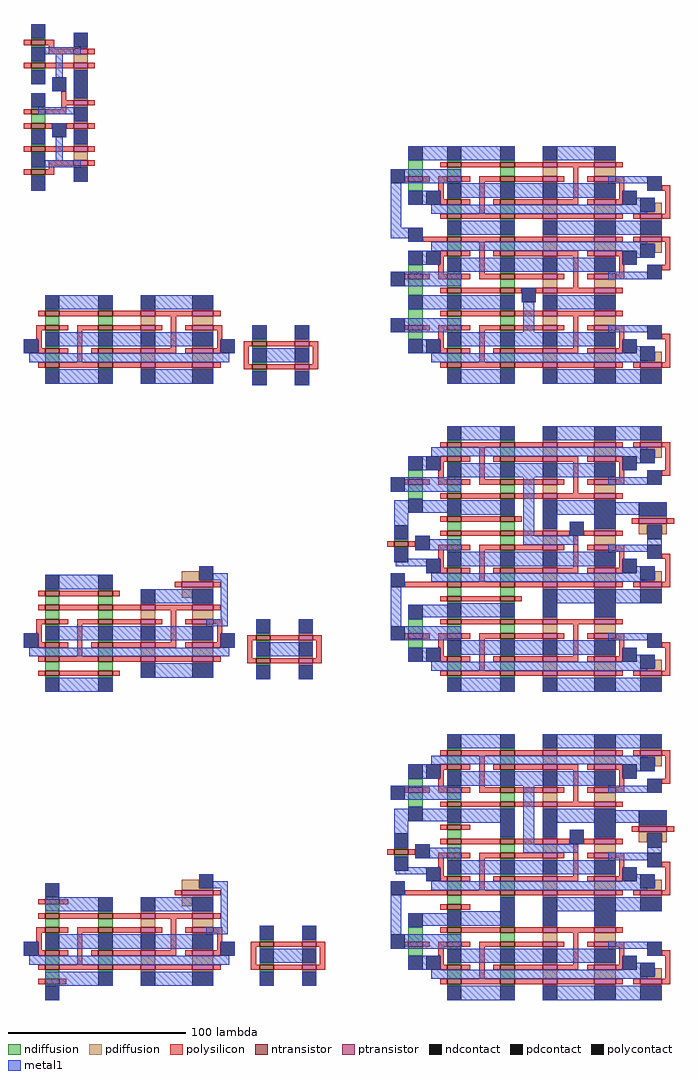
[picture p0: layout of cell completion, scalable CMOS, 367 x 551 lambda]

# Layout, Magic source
magic
tech scmos
use s_or4 s_or4_0
transform 1 0 152 0 1 169
box -62 -18 -20 76
use m_c2inv m_c2inv_0
transform 1 0 153 0 1 50
box -63 -10 105 43
use m_c4 m_c4_0
transform 1 0 316 0 1 -20
box -19 61 141 197
use m_c2inv_rlo m_c2inv_rlo_0
transform 1 0 153 0 1 -92
box -63 -41 107 32
use m_c4_rhi m_c4_rhi_0
transform 1 0 315 0 1 -141
box -20 8 144 160
use m_c2inv_plo m_c2inv_plo_0
transform 1 0 49 0 1 -273
box 41 -34 213 40
use m_c4_phi m_c4_phi_0
transform 1 0 325 0 1 -309
box -30 2 134 154
<< end >>

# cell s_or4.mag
magic
tech scmos
<< ndiffusion >>
rect -57 67 -49 68
rect -57 63 -49 64
rect -57 54 -49 55
rect -57 50 -49 51
rect -57 28 -49 29
rect -57 20 -49 25
rect -57 16 -49 17
rect -57 7 -49 8
rect -57 3 -49 4
rect -57 -6 -49 -5
rect -57 -10 -49 -9
<< pdiffusion >>
rect -33 62 -25 63
rect -33 54 -25 59
rect -33 50 -25 51
rect -33 33 -25 34
rect -33 29 -25 30
rect -33 20 -25 21
rect -33 16 -25 17
rect -33 7 -25 8
rect -33 -1 -25 4
rect -33 -5 -25 -4
<< ntransistor >>
rect -57 64 -49 67
rect -57 51 -49 54
rect -57 25 -49 28
rect -57 17 -49 20
rect -57 4 -49 7
rect -57 -9 -49 -6
<< ptransistor >>
rect -33 59 -25 62
rect -33 51 -25 54
rect -33 30 -25 33
rect -33 17 -25 20
rect -33 4 -25 7
rect -33 -4 -25 -1
<< polysilicon >>
rect -61 64 -57 67
rect -49 64 -44 67
rect -47 62 -44 64
rect -47 59 -33 62
rect -25 59 -21 62
rect -61 51 -57 54
rect -49 51 -33 54
rect -25 51 -21 54
rect -40 33 -37 38
rect -40 30 -33 33
rect -25 30 -21 33
rect -40 28 -37 30
rect -61 25 -57 28
rect -49 25 -37 28
rect -61 17 -57 20
rect -49 17 -45 20
rect -37 17 -33 20
rect -25 17 -21 20
rect -61 4 -57 7
rect -49 4 -33 7
rect -25 4 -21 7
rect -47 -4 -33 -1
rect -25 -4 -21 -1
rect -47 -6 -44 -4
rect -61 -9 -57 -6
rect -49 -9 -44 -6
<< ndcontact >>
rect -57 68 -49 76
rect -57 55 -49 63
rect -57 42 -49 50
rect -57 29 -49 37
rect -57 8 -49 16
rect -57 -5 -49 3
rect -57 -18 -49 -10
<< pdcontact >>
rect -33 63 -25 71
rect -33 34 -25 50
rect -33 21 -25 29
rect -33 8 -25 16
rect -33 -13 -25 -5
<< polycontact >>
rect -45 38 -37 46
rect -45 12 -37 20
<< metal1 >>
rect -57 68 -49 76
rect -33 63 -25 71
rect -57 59 -29 63
rect -57 55 -49 59
rect -57 42 -49 50
rect -43 46 -39 59
rect -45 38 -37 46
rect -57 29 -49 37
rect -33 34 -25 50
rect -53 25 -25 29
rect -33 21 -25 25
rect -57 8 -49 16
rect -45 12 -37 20
rect -57 -1 -49 3
rect -43 -1 -39 12
rect -33 8 -25 16
rect -57 -5 -29 -1
rect -57 -18 -49 -10
rect -33 -13 -25 -5
<< labels >>
rlabel metal1 -53 46 -53 46 1 GND!
rlabel metal1 -53 72 -53 72 5 GND!
rlabel polysilicon -58 52 -58 52 3 a2
rlabel polysilicon -24 52 -24 52 7 a2
rlabel polysilicon -24 60 -24 60 7 a3
rlabel polysilicon -58 65 -58 65 3 a3
rlabel metal1 -53 59 -53 59 1 _a_23
rlabel metal1 -53 33 -53 33 1 av
rlabel metal1 -29 25 -29 25 1 av
rlabel metal1 -53 -1 -53 -1 1 _a_01
rlabel polysilicon -24 -3 -24 -3 7 a0
rlabel polysilicon -24 5 -24 5 7 a1
rlabel polysilicon -58 5 -58 5 3 a1
rlabel polysilicon -58 -8 -58 -8 3 a0
rlabel metal1 -29 12 -29 12 5 Vdd!
rlabel metal1 -53 -14 -53 -14 1 GND!
rlabel metal1 -53 12 -53 12 5 GND!
rlabel metal1 -29 42 -29 42 1 Vdd!
rlabel space -62 -18 -57 11 7 ^n01
rlabel space -25 -13 -20 9 3 ^p01
rlabel space -62 15 -57 30 7 ^n03
rlabel space -25 15 -20 35 3 ^p03
rlabel space -25 49 -20 64 3 ^p23
rlabel space -62 42 -57 76 7 ^n23
<< end >>

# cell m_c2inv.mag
magic
tech scmos
<< ndiffusion >>
rect -50 33 -42 34
rect -20 33 -12 34
rect -50 25 -42 30
rect -20 25 -12 30
rect -50 21 -42 22
rect -50 12 -42 13
rect -50 4 -42 9
rect -20 21 -12 22
rect -20 12 -12 13
rect 67 16 75 17
rect -20 4 -12 9
rect 67 12 75 13
rect 67 3 75 4
rect -50 0 -42 1
rect -20 0 -12 1
rect 67 -1 75 0
<< pdiffusion >>
rect 4 33 12 34
rect 33 33 45 34
rect 4 25 12 30
rect 4 21 12 22
rect 4 12 12 13
rect 33 25 45 30
rect 33 21 45 22
rect 33 12 45 13
rect 91 16 99 17
rect 4 4 12 9
rect 33 4 45 9
rect 91 12 99 13
rect 91 3 99 4
rect 4 0 12 1
rect 33 0 45 1
rect 91 -1 99 0
<< ntransistor >>
rect -50 30 -42 33
rect -20 30 -12 33
rect -50 22 -42 25
rect -20 22 -12 25
rect -50 9 -42 12
rect -20 9 -12 12
rect 67 13 75 16
rect -50 1 -42 4
rect -20 1 -12 4
rect 67 0 75 3
<< ptransistor >>
rect 4 30 12 33
rect 33 30 45 33
rect 4 22 12 25
rect 33 22 45 25
rect 4 9 12 12
rect 33 9 45 12
rect 91 13 99 16
rect 4 1 12 4
rect 33 1 45 4
rect 91 0 99 3
<< polysilicon >>
rect -54 30 -50 33
rect -42 30 -20 33
rect -12 30 4 33
rect 12 30 33 33
rect 45 30 49 33
rect -55 22 -50 25
rect -42 22 -37 25
rect -32 22 -20 25
rect -12 22 4 25
rect 12 22 16 25
rect -55 17 -52 22
rect -54 12 -52 17
rect -54 9 -50 12
rect -42 9 -37 12
rect -32 4 -29 22
rect 21 12 24 30
rect 29 22 33 25
rect 45 22 50 25
rect 47 17 50 22
rect 47 12 49 17
rect -24 9 -20 12
rect -12 9 4 12
rect 12 9 24 12
rect 29 9 33 12
rect 45 9 49 12
rect 62 13 67 16
rect 75 13 91 16
rect 99 13 104 16
rect -54 1 -50 4
rect -42 1 -20 4
rect -12 1 4 4
rect 12 1 33 4
rect 45 1 49 4
rect 62 3 65 13
rect 101 3 104 13
rect 62 0 67 3
rect 75 0 91 3
rect 99 0 104 3
<< ndcontact >>
rect -50 34 -42 42
rect -20 34 -12 42
rect -50 13 -42 21
rect -20 13 -12 21
rect 67 17 75 25
rect 67 4 75 12
rect -50 -8 -42 0
rect -20 -8 -12 0
rect 67 -9 75 -1
<< pdcontact >>
rect 4 34 12 42
rect 33 34 45 42
rect 4 13 12 21
rect 33 13 45 21
rect 91 17 99 25
rect 91 4 99 12
rect 4 -8 12 0
rect 33 -8 45 0
rect 91 -9 99 -1
<< polycontact >>
rect -62 9 -54 17
rect 49 9 57 17
<< metal1 >>
rect -50 34 -12 42
rect 4 34 45 42
rect -62 9 -54 17
rect -50 13 45 21
rect 67 17 75 25
rect 91 17 99 25
rect 49 9 57 17
rect -59 4 54 9
rect 67 4 99 12
rect -50 -8 -12 0
rect 4 -8 45 0
rect 67 -9 75 -1
rect 91 -9 99 -1
<< labels >>
rlabel metal1 -16 38 -16 38 5 GND!
rlabel metal1 8 38 8 38 5 Vdd!
rlabel metal1 -16 -4 -16 -4 1 GND!
rlabel metal1 8 -4 8 -4 1 Vdd!
rlabel metal1 -46 38 -46 38 5 GND!
rlabel metal1 -46 -4 -46 -4 1 GND!
rlabel polysilicon -51 31 -51 31 3 b
rlabel polysilicon -51 2 -51 2 3 a
rlabel polysilicon 46 3 46 3 7 a
rlabel polysilicon 46 32 46 32 7 b
rlabel metal1 39 38 39 38 5 Vdd!
rlabel metal1 39 -4 39 -4 1 Vdd!
rlabel metal1 -46 17 -46 17 1 _x
rlabel metal1 -16 17 -16 17 1 _x
rlabel metal1 8 17 8 17 1 _x
rlabel metal1 39 17 39 17 1 _x
rlabel metal1 53 13 53 13 1 x
rlabel metal1 -58 13 -58 13 1 x
rlabel ndcontact 71 8 71 8 1 x
rlabel pdcontact 95 8 95 8 1 x
rlabel ndcontact 71 -5 71 -5 1 GND!
rlabel pdcontact 95 -5 95 -5 1 Vdd!
rlabel pdcontact 95 21 95 21 5 Vdd!
rlabel ndcontact 71 21 71 21 5 GND!
rlabel polysilicon 66 14 66 14 1 _x
rlabel polysilicon 66 1 66 1 1 _x
rlabel polysilicon 100 14 100 14 1 _x
rlabel polysilicon 100 1 100 1 1 _x
rlabel space -63 -9 -19 43 7 ^n1
rlabel space 10 -9 58 43 3 ^p1
rlabel space 61 -10 68 26 7 ^n2
rlabel space 98 -10 105 26 3 ^p2
<< end >>

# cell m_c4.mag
magic
tech scmos
<< ndiffusion >>
rect -8 179 0 188
rect 14 187 22 188
rect 44 187 52 188
rect 14 179 22 184
rect 44 179 52 184
rect -8 171 0 176
rect 14 175 22 176
rect 14 166 22 167
rect 14 158 22 163
rect 44 175 52 176
rect 44 166 52 167
rect 44 158 52 163
rect 14 154 22 155
rect 14 145 22 146
rect 44 154 52 155
rect 44 145 52 146
rect 14 137 22 142
rect -8 124 0 129
rect 14 133 22 134
rect 14 124 22 125
rect 44 137 52 142
rect 44 133 52 134
rect 44 124 52 125
rect -8 112 0 121
rect 14 116 22 121
rect 44 116 52 121
rect -8 95 0 104
rect 14 112 22 113
rect 14 103 22 104
rect 44 112 52 113
rect 44 103 52 104
rect 14 95 22 100
rect 44 95 52 100
rect -8 87 0 92
rect 14 91 22 92
rect 14 82 22 83
rect 14 74 22 79
rect 44 91 52 92
rect 44 82 52 83
rect 44 74 52 79
rect 14 70 22 71
rect 44 70 52 71
<< pdiffusion >>
rect 68 187 76 188
rect 97 187 109 188
rect 68 179 76 184
rect 68 175 76 176
rect 68 166 76 167
rect 97 179 109 184
rect 97 175 109 176
rect 97 166 109 167
rect 68 158 76 163
rect 97 158 109 163
rect 131 159 135 164
rect 123 158 135 159
rect 68 154 76 155
rect 68 145 76 146
rect 97 154 109 155
rect 97 145 109 146
rect 123 154 135 155
rect 123 145 135 146
rect 68 137 76 142
rect 97 137 109 142
rect 123 141 135 142
rect 68 133 76 134
rect 68 124 76 125
rect 68 116 76 121
rect 97 133 109 134
rect 97 124 109 125
rect 131 136 135 141
rect 97 116 109 121
rect 68 112 76 113
rect 68 103 76 104
rect 97 112 109 113
rect 97 103 109 104
rect 68 95 76 100
rect 68 91 76 92
rect 68 82 76 83
rect 97 95 109 100
rect 97 91 109 92
rect 97 82 109 83
rect 68 74 76 79
rect 97 74 109 79
rect 131 75 135 80
rect 123 74 135 75
rect 68 70 76 71
rect 97 70 109 71
rect 123 70 135 71
<< ntransistor >>
rect 14 184 22 187
rect 44 184 52 187
rect -8 176 0 179
rect 14 176 22 179
rect 44 176 52 179
rect 14 163 22 166
rect 44 163 52 166
rect 14 155 22 158
rect 44 155 52 158
rect 14 142 22 145
rect 44 142 52 145
rect 14 134 22 137
rect 44 134 52 137
rect -8 121 0 124
rect 14 121 22 124
rect 44 121 52 124
rect 14 113 22 116
rect 44 113 52 116
rect 14 100 22 103
rect 44 100 52 103
rect -8 92 0 95
rect 14 92 22 95
rect 44 92 52 95
rect 14 79 22 82
rect 44 79 52 82
rect 14 71 22 74
rect 44 71 52 74
<< ptransistor >>
rect 68 184 76 187
rect 97 184 109 187
rect 68 176 76 179
rect 97 176 109 179
rect 68 163 76 166
rect 97 163 109 166
rect 68 155 76 158
rect 97 155 109 158
rect 123 155 135 158
rect 68 142 76 145
rect 97 142 109 145
rect 123 142 135 145
rect 68 134 76 137
rect 97 134 109 137
rect 68 121 76 124
rect 97 121 109 124
rect 68 113 76 116
rect 97 113 109 116
rect 68 100 76 103
rect 97 100 109 103
rect 68 92 76 95
rect 97 92 109 95
rect 68 79 76 82
rect 97 79 109 82
rect 68 71 76 74
rect 97 71 109 74
rect 123 71 135 74
<< polysilicon >>
rect 10 184 14 187
rect 22 184 44 187
rect 52 184 68 187
rect 76 184 97 187
rect 109 184 113 187
rect -10 176 -8 179
rect 0 176 4 179
rect 9 176 14 179
rect 22 176 27 179
rect 32 176 44 179
rect 52 176 68 179
rect 76 176 80 179
rect 9 171 12 176
rect 10 166 12 171
rect 10 163 14 166
rect 22 163 27 166
rect 32 158 35 176
rect 85 166 88 184
rect 93 176 97 179
rect 109 176 114 179
rect 111 171 114 176
rect 135 171 140 174
rect 111 166 113 171
rect 40 163 44 166
rect 52 163 68 166
rect 76 163 88 166
rect 93 163 97 166
rect 109 163 113 166
rect 137 158 140 171
rect 10 155 14 158
rect 22 155 44 158
rect 52 155 68 158
rect 76 155 97 158
rect 109 155 113 158
rect 119 155 123 158
rect 135 155 140 158
rect 0 142 14 145
rect 22 142 44 145
rect 52 142 68 145
rect 76 142 97 145
rect 109 142 113 145
rect 119 142 123 145
rect 135 142 140 145
rect 10 134 14 137
rect 22 134 27 137
rect 10 129 12 134
rect 9 124 12 129
rect 32 124 35 142
rect 40 134 44 137
rect 52 134 68 137
rect 76 134 88 137
rect 93 134 97 137
rect 109 134 113 137
rect -10 121 -8 124
rect 0 121 4 124
rect 9 121 14 124
rect 22 121 27 124
rect 32 121 44 124
rect 52 121 68 124
rect 76 121 80 124
rect 85 116 88 134
rect 111 129 113 134
rect 137 129 140 142
rect 111 124 114 129
rect 93 121 97 124
rect 109 121 114 124
rect 135 126 140 129
rect 10 113 14 116
rect 22 113 44 116
rect 52 113 56 116
rect 64 113 68 116
rect 76 113 97 116
rect 109 113 113 116
rect 10 100 14 103
rect 22 100 44 103
rect 52 100 68 103
rect 76 100 97 103
rect 109 100 113 103
rect -10 92 -8 95
rect 0 92 4 95
rect 9 92 14 95
rect 22 92 27 95
rect 32 92 44 95
rect 52 92 68 95
rect 76 92 80 95
rect 9 87 12 92
rect 10 82 12 87
rect 10 79 14 82
rect 22 79 27 82
rect 32 74 35 92
rect 85 82 88 100
rect 93 92 97 95
rect 109 92 114 95
rect 111 87 114 92
rect 135 87 140 90
rect 111 82 113 87
rect 40 79 44 82
rect 52 79 68 82
rect 76 79 88 82
rect 93 79 97 82
rect 109 79 113 82
rect 137 74 140 87
rect 10 71 14 74
rect 22 71 44 74
rect 52 71 68 74
rect 76 71 97 74
rect 109 71 113 74
rect 119 71 123 74
rect 135 71 140 74
<< ndcontact >>
rect -8 188 0 196
rect 14 188 22 196
rect 44 188 52 196
rect -8 163 0 171
rect 14 167 22 175
rect 44 167 52 175
rect 14 146 22 154
rect 44 146 52 154
rect -8 129 0 137
rect 14 125 22 133
rect 44 125 52 133
rect -8 104 0 112
rect 14 104 22 112
rect 44 104 52 112
rect -8 79 0 87
rect 14 83 22 91
rect 44 83 52 91
rect 14 62 22 70
rect 44 62 52 70
<< pdcontact >>
rect 68 188 76 196
rect 97 188 109 196
rect 68 167 76 175
rect 97 167 109 175
rect 123 159 131 167
rect 68 146 76 154
rect 97 146 109 154
rect 123 146 135 154
rect 68 125 76 133
rect 97 125 109 133
rect 123 133 131 141
rect 68 104 76 112
rect 97 104 109 112
rect 68 83 76 91
rect 97 83 109 91
rect 123 75 131 83
rect 68 62 76 70
rect 97 62 109 70
rect 123 62 135 70
<< polycontact >>
rect -18 175 -10 183
rect 2 163 10 171
rect 127 171 135 179
rect 113 163 121 171
rect -8 142 0 150
rect 2 129 10 137
rect -18 117 -10 125
rect 113 129 121 137
rect 127 121 135 129
rect -18 91 -10 99
rect 56 108 64 116
rect 2 79 10 87
rect 127 87 135 95
rect 113 79 121 87
<< metal1 >>
rect -8 188 52 196
rect 68 188 109 196
rect -18 175 22 183
rect 105 175 135 179
rect -18 150 -12 175
rect -8 163 10 171
rect 14 167 109 175
rect 127 171 135 175
rect 113 167 121 171
rect 113 163 131 167
rect 5 159 131 163
rect 5 158 127 159
rect -18 144 0 150
rect 14 146 52 154
rect 68 146 135 154
rect -8 142 0 144
rect 5 141 127 142
rect 5 137 131 141
rect -8 129 10 137
rect 113 133 131 137
rect 14 125 109 133
rect 113 129 121 133
rect 127 125 135 129
rect -18 117 22 125
rect 105 121 135 125
rect -8 104 52 112
rect 56 108 64 116
rect -18 91 22 99
rect 57 91 63 108
rect 68 104 109 112
rect 105 91 135 95
rect -8 79 10 87
rect 14 83 109 91
rect 127 87 135 91
rect 113 83 121 87
rect 113 79 131 83
rect 5 75 131 79
rect 5 74 127 75
rect 14 62 52 70
rect 68 62 135 70
<< labels >>
rlabel metal1 48 192 48 192 5 GND!
rlabel metal1 72 192 72 192 5 Vdd!
rlabel metal1 48 150 48 150 1 GND!
rlabel metal1 72 150 72 150 1 Vdd!
rlabel metal1 18 192 18 192 5 GND!
rlabel metal1 18 150 18 150 1 GND!
rlabel metal1 -4 192 -4 192 5 GND!
rlabel metal1 103 192 103 192 5 Vdd!
rlabel metal1 103 150 103 150 1 Vdd!
rlabel metal1 129 150 129 150 1 Vdd!
rlabel metal1 48 108 48 108 1 GND!
rlabel metal1 72 108 72 108 1 Vdd!
rlabel metal1 18 108 18 108 1 GND!
rlabel metal1 103 108 103 108 1 Vdd!
rlabel metal1 48 66 48 66 1 GND!
rlabel metal1 72 66 72 66 1 Vdd!
rlabel metal1 18 66 18 66 1 GND!
rlabel metal1 103 66 103 66 1 Vdd!
rlabel metal1 129 66 129 66 1 Vdd!
rlabel metal1 -4 108 -4 108 1 GND!
rlabel polysilicon 13 72 13 72 1 a
rlabel polysilicon 110 101 110 101 1 b
rlabel polysilicon 13 156 13 156 1 c
rlabel polysilicon 110 185 110 185 1 d
rlabel metal1 48 171 48 171 1 _cd
rlabel metal1 18 171 18 171 1 _cd
rlabel metal1 72 171 72 171 1 _cd
rlabel metal1 103 171 103 171 1 _cd
rlabel metal1 18 87 18 87 1 _ab
rlabel metal1 48 87 48 87 1 _ab
rlabel metal1 72 87 72 87 1 _ab
rlabel metal1 103 87 103 87 1 _ab
rlabel metal1 -14 121 -14 121 1 x
rlabel metal1 18 129 18 129 1 x
rlabel metal1 48 129 48 129 1 x
rlabel metal1 72 129 72 129 1 x
rlabel metal1 103 129 103 129 1 x
rlabel metal1 131 125 131 125 1 x
rlabel polysilicon 13 143 13 143 1 _cd
rlabel metal1 60 112 60 112 1 _ab
rlabel space -19 61 45 197 7 ^n
rlabel space 75 61 141 197 3 ^p
rlabel space 31 69 44 105 3 ^nab
rlabel space 76 69 89 105 7 ^pab
rlabel space 31 111 44 147 3 ^nx
rlabel space 76 111 89 147 7 ^px
rlabel space 31 153 44 189 3 ^ncd
rlabel space 76 153 89 189 7 ^pcd
<< end >>

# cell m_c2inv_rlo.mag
magic
tech scmos
<< ndiffusion >>
rect -50 17 -42 18
rect -20 17 -12 18
rect -50 9 -42 14
rect -20 9 -12 14
rect -50 1 -42 6
rect -20 1 -12 6
rect -50 -3 -42 -2
rect -50 -12 -42 -11
rect -50 -20 -42 -15
rect -20 -3 -12 -2
rect -20 -12 -12 -11
rect 69 -8 77 -7
rect -20 -20 -12 -15
rect 69 -12 77 -11
rect 69 -21 77 -20
rect -50 -28 -42 -23
rect -20 -28 -12 -23
rect -50 -32 -42 -31
rect -20 -32 -12 -31
rect 69 -25 77 -24
<< pdiffusion >>
rect 27 23 37 28
rect 27 22 45 23
rect 27 18 45 19
rect 27 13 33 18
rect 4 9 12 10
rect 33 9 45 10
rect 4 1 12 6
rect 4 -3 12 -2
rect 4 -12 12 -11
rect 33 1 45 6
rect 33 -3 45 -2
rect 33 -12 45 -11
rect 93 -8 101 -7
rect 4 -20 12 -15
rect 33 -20 45 -15
rect 93 -12 101 -11
rect 93 -21 101 -20
rect 4 -24 12 -23
rect 33 -24 45 -23
rect 93 -25 101 -24
<< ntransistor >>
rect -50 14 -42 17
rect -20 14 -12 17
rect -50 6 -42 9
rect -20 6 -12 9
rect -50 -2 -42 1
rect -20 -2 -12 1
rect -50 -15 -42 -12
rect -20 -15 -12 -12
rect 69 -11 77 -8
rect -50 -23 -42 -20
rect -20 -23 -12 -20
rect -50 -31 -42 -28
rect -20 -31 -12 -28
rect 69 -24 77 -21
<< ptransistor >>
rect 27 19 45 22
rect 4 6 12 9
rect 33 6 45 9
rect 4 -2 12 1
rect 33 -2 45 1
rect 4 -15 12 -12
rect 33 -15 45 -12
rect 93 -11 101 -8
rect 4 -23 12 -20
rect 33 -23 45 -20
rect 93 -24 101 -21
<< polysilicon >>
rect 23 19 27 22
rect 45 19 49 22
rect -54 14 -50 17
rect -42 14 -20 17
rect -12 14 -8 17
rect -54 6 -50 9
rect -42 6 -20 9
rect -12 6 4 9
rect 12 6 33 9
rect 45 6 49 9
rect -55 -2 -50 1
rect -42 -2 -37 1
rect -32 -2 -20 1
rect -12 -2 4 1
rect 12 -2 16 1
rect -55 -7 -52 -2
rect -54 -12 -52 -7
rect -54 -15 -50 -12
rect -42 -15 -37 -12
rect -32 -20 -29 -2
rect 21 -12 24 6
rect 29 -2 33 1
rect 45 -2 50 1
rect 47 -7 50 -2
rect 47 -12 49 -7
rect -24 -15 -20 -12
rect -12 -15 4 -12
rect 12 -15 24 -12
rect 29 -15 33 -12
rect 45 -15 49 -12
rect 64 -11 69 -8
rect 77 -11 93 -8
rect 101 -11 106 -8
rect -54 -23 -50 -20
rect -42 -23 -20 -20
rect -12 -23 4 -20
rect 12 -23 33 -20
rect 45 -23 49 -20
rect 64 -21 67 -11
rect 103 -21 106 -11
rect -54 -31 -50 -28
rect -42 -31 -20 -28
rect -12 -31 -8 -28
rect 64 -24 69 -21
rect 77 -24 93 -21
rect 101 -24 106 -21
<< ndcontact >>
rect -50 18 -42 26
rect -20 18 -12 26
rect -50 -11 -42 -3
rect -20 -11 -12 -3
rect 69 -7 77 1
rect 69 -20 77 -12
rect -50 -40 -42 -32
rect -20 -40 -12 -32
rect 69 -33 77 -25
<< pdcontact >>
rect 37 23 45 31
rect 4 10 12 18
rect 33 10 45 18
rect 4 -11 12 -3
rect 33 -11 45 -3
rect 93 -7 101 1
rect 93 -20 101 -12
rect 4 -32 12 -24
rect 33 -32 45 -24
rect 93 -33 101 -25
<< polycontact >>
rect -62 -15 -54 -7
rect 49 -15 57 -7
<< metal1 >>
rect 37 27 45 31
rect -50 18 -12 26
rect 37 23 53 27
rect 4 10 45 18
rect 49 1 53 23
rect 41 -3 53 1
rect -62 -15 -54 -7
rect -50 -11 45 -3
rect 69 -7 77 1
rect 93 -7 101 1
rect 49 -15 57 -7
rect -59 -20 54 -15
rect 69 -20 101 -12
rect 4 -32 45 -24
rect -50 -40 -12 -32
rect 69 -33 77 -25
rect 93 -33 101 -25
<< labels >>
rlabel metal1 8 14 8 14 5 Vdd!
rlabel metal1 8 -28 8 -28 1 Vdd!
rlabel polysilicon -51 7 -51 7 3 b
rlabel polysilicon -51 -22 -51 -22 3 a
rlabel polysilicon 46 -21 46 -21 7 a
rlabel polysilicon 46 8 46 8 7 b
rlabel metal1 39 14 39 14 5 Vdd!
rlabel metal1 39 -28 39 -28 1 Vdd!
rlabel metal1 -16 22 -16 22 5 GND!
rlabel metal1 -46 22 -46 22 5 GND!
rlabel polysilicon -51 15 -51 15 1 _SReset!
rlabel metal1 -16 -36 -16 -36 1 GND!
rlabel metal1 -46 -36 -46 -36 1 GND!
rlabel polysilicon -51 -30 -51 -30 1 _SReset!
rlabel metal1 53 -11 53 -11 1 x
rlabel metal1 -58 -11 -58 -11 1 x
rlabel metal1 -46 -7 -46 -7 1 _x
rlabel metal1 -16 -7 -16 -7 1 _x
rlabel metal1 8 -7 8 -7 1 _x
rlabel metal1 39 -7 39 -7 1 _x
rlabel ndcontact 73 -16 73 -16 1 x
rlabel pdcontact 97 -16 97 -16 1 x
rlabel ndcontact 73 -29 73 -29 1 GND!
rlabel pdcontact 97 -29 97 -29 1 Vdd!
rlabel pdcontact 97 -3 97 -3 5 Vdd!
rlabel ndcontact 73 -3 73 -3 5 GND!
rlabel polysilicon 68 -10 68 -10 1 _x
rlabel polysilicon 68 -23 68 -23 1 _x
rlabel polysilicon 102 -10 102 -10 1 _x
rlabel polysilicon 102 -23 102 -23 1 _x
rlabel space 63 -34 70 2 7 ^n2
rlabel space 100 -34 107 2 3 ^p2
rlabel space -63 -41 -19 27 7 ^n1
rlabel space 11 -34 58 32 3 ^p1
rlabel polysilicon 46 21 46 21 7 _PReset!
rlabel metal1 41 27 41 27 5 _x
<< end >>

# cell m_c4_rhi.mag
magic
tech scmos
<< ndiffusion >>
rect 15 150 23 151
rect 45 150 53 151
rect 15 142 23 147
rect -7 129 1 134
rect 15 138 23 139
rect 15 129 23 130
rect 45 142 53 147
rect 45 138 53 139
rect 45 129 53 130
rect -7 118 1 126
rect 15 121 23 126
rect 45 121 53 126
rect 15 117 23 118
rect 15 108 23 109
rect 45 117 53 118
rect 45 108 53 109
rect 15 100 23 105
rect 45 100 53 105
rect -15 94 -7 95
rect -15 90 -7 91
rect 15 92 23 97
rect 45 92 53 97
rect 15 88 23 89
rect 15 79 23 80
rect 15 71 23 76
rect 45 88 53 89
rect 45 79 53 80
rect 45 71 53 76
rect 15 63 23 68
rect 45 63 53 68
rect 15 59 23 60
rect 15 50 23 51
rect 45 59 53 60
rect 45 50 53 51
rect -7 42 1 50
rect 15 42 23 47
rect 45 42 53 47
rect -7 34 1 39
rect 15 38 23 39
rect 15 29 23 30
rect 15 21 23 26
rect 45 38 53 39
rect 45 29 53 30
rect 45 21 53 26
rect 15 17 23 18
rect 45 17 53 18
<< pdiffusion >>
rect 69 150 77 151
rect 98 150 110 151
rect 124 150 136 151
rect 69 142 77 147
rect 98 142 110 147
rect 124 146 136 147
rect 69 138 77 139
rect 69 129 77 130
rect 69 121 77 126
rect 98 138 110 139
rect 98 129 110 130
rect 132 141 136 146
rect 98 121 110 126
rect 69 117 77 118
rect 98 117 110 118
rect 69 100 77 101
rect 123 107 139 108
rect 98 100 110 101
rect 123 103 139 104
rect 123 98 128 103
rect 69 92 77 97
rect 69 88 77 89
rect 69 79 77 80
rect 98 92 110 97
rect 136 98 139 103
rect 98 88 110 89
rect 98 79 110 80
rect 69 71 77 76
rect 98 71 110 76
rect 132 72 136 77
rect 124 71 136 72
rect 69 67 77 68
rect 69 50 77 51
rect 98 67 110 68
rect 124 67 136 68
rect 98 50 110 51
rect 69 42 77 47
rect 69 38 77 39
rect 69 29 77 30
rect 98 42 110 47
rect 98 38 110 39
rect 98 29 110 30
rect 69 21 77 26
rect 98 21 110 26
rect 132 22 136 27
rect 124 21 136 22
rect 69 17 77 18
rect 98 17 110 18
rect 124 17 136 18
<< ntransistor >>
rect 15 147 23 150
rect 45 147 53 150
rect 15 139 23 142
rect 45 139 53 142
rect -7 126 1 129
rect 15 126 23 129
rect 45 126 53 129
rect 15 118 23 121
rect 45 118 53 121
rect 15 105 23 108
rect 45 105 53 108
rect 15 97 23 100
rect 45 97 53 100
rect -15 91 -7 94
rect 15 89 23 92
rect 45 89 53 92
rect 15 76 23 79
rect 45 76 53 79
rect 15 68 23 71
rect 45 68 53 71
rect 15 60 23 63
rect 45 60 53 63
rect 15 47 23 50
rect 45 47 53 50
rect -7 39 1 42
rect 15 39 23 42
rect 45 39 53 42
rect 15 26 23 29
rect 45 26 53 29
rect 15 18 23 21
rect 45 18 53 21
<< ptransistor >>
rect 69 147 77 150
rect 98 147 110 150
rect 124 147 136 150
rect 69 139 77 142
rect 98 139 110 142
rect 69 126 77 129
rect 98 126 110 129
rect 69 118 77 121
rect 98 118 110 121
rect 69 97 77 100
rect 123 104 139 107
rect 98 97 110 100
rect 69 89 77 92
rect 98 89 110 92
rect 69 76 77 79
rect 98 76 110 79
rect 69 68 77 71
rect 98 68 110 71
rect 124 68 136 71
rect 69 47 77 50
rect 98 47 110 50
rect 69 39 77 42
rect 98 39 110 42
rect 69 26 77 29
rect 98 26 110 29
rect 69 18 77 21
rect 98 18 110 21
rect 124 18 136 21
<< polysilicon >>
rect 11 147 15 150
rect 23 147 45 150
rect 53 147 69 150
rect 77 147 98 150
rect 110 147 114 150
rect 120 147 124 150
rect 136 147 141 150
rect 11 139 15 142
rect 23 139 28 142
rect 11 134 13 139
rect 10 129 13 134
rect 33 129 36 147
rect 41 139 45 142
rect 53 139 69 142
rect 77 139 89 142
rect 94 139 98 142
rect 110 139 114 142
rect -9 126 -7 129
rect 1 126 5 129
rect 10 126 15 129
rect 23 126 28 129
rect 33 126 45 129
rect 53 126 69 129
rect 77 126 81 129
rect 86 121 89 139
rect 112 134 114 139
rect 138 134 141 147
rect 112 129 115 134
rect 94 126 98 129
rect 110 126 115 129
rect 136 131 141 134
rect 11 118 15 121
rect 23 118 45 121
rect 53 118 69 121
rect 77 118 98 121
rect 110 118 114 121
rect 11 105 15 108
rect 23 105 45 108
rect 53 105 57 108
rect 11 97 15 100
rect 23 97 45 100
rect 53 97 69 100
rect 77 97 84 100
rect 119 104 123 107
rect 139 104 143 107
rect 92 97 98 100
rect 110 97 114 100
rect -19 91 -15 94
rect -7 91 -3 94
rect 10 89 15 92
rect 23 89 28 92
rect 33 89 45 92
rect 53 89 69 92
rect 77 89 81 92
rect 10 84 13 89
rect 11 79 13 84
rect 11 76 15 79
rect 23 76 28 79
rect 33 71 36 89
rect 86 79 89 97
rect 94 89 98 92
rect 110 89 115 92
rect 112 84 115 89
rect 136 84 141 87
rect 112 79 114 84
rect 41 76 45 79
rect 53 76 69 79
rect 77 76 89 79
rect 94 76 98 79
rect 110 76 114 79
rect 138 71 141 84
rect -9 68 15 71
rect 23 68 45 71
rect 53 68 69 71
rect 77 68 98 71
rect 110 68 114 71
rect 120 68 124 71
rect 136 68 141 71
rect 11 60 15 63
rect 23 60 45 63
rect 53 60 57 63
rect 11 47 15 50
rect 23 47 45 50
rect 53 47 69 50
rect 77 47 98 50
rect 110 47 114 50
rect -9 39 -7 42
rect 1 39 5 42
rect 10 39 15 42
rect 23 39 28 42
rect 33 39 45 42
rect 53 39 69 42
rect 77 39 81 42
rect 10 34 13 39
rect 11 29 13 34
rect 11 26 15 29
rect 23 26 28 29
rect 33 21 36 39
rect 86 29 89 47
rect 94 39 98 42
rect 110 39 115 42
rect 112 34 115 39
rect 136 34 141 37
rect 112 29 114 34
rect 41 26 45 29
rect 53 26 69 29
rect 77 26 89 29
rect 94 26 98 29
rect 110 26 114 29
rect 138 21 141 34
rect 11 18 15 21
rect 23 18 45 21
rect 53 18 69 21
rect 77 18 98 21
rect 110 18 114 21
rect 120 18 124 21
rect 136 18 141 21
<< ndcontact >>
rect 15 151 23 159
rect 45 151 53 159
rect -7 134 1 142
rect 15 130 23 138
rect 45 130 53 138
rect -7 110 1 118
rect 15 109 23 117
rect 45 109 53 117
rect -15 95 -7 103
rect -15 82 -7 90
rect 15 80 23 88
rect 45 80 53 88
rect -7 50 1 58
rect 15 51 23 59
rect 45 51 53 59
rect -7 26 1 34
rect 15 30 23 38
rect 45 30 53 38
rect 15 9 23 17
rect 45 9 53 17
<< pdcontact >>
rect 69 151 77 159
rect 98 151 110 159
rect 124 151 136 159
rect 69 130 77 138
rect 98 130 110 138
rect 124 138 132 146
rect 69 101 77 117
rect 98 101 110 117
rect 123 108 139 116
rect 69 80 77 88
rect 128 95 136 103
rect 98 80 110 88
rect 124 72 132 80
rect 69 51 77 67
rect 98 51 110 67
rect 124 59 136 67
rect 69 30 77 38
rect 98 30 110 38
rect 124 22 132 30
rect 69 9 77 17
rect 98 9 110 17
rect 124 9 136 17
<< polycontact >>
rect 3 134 11 142
rect -17 122 -9 130
rect 114 134 122 142
rect 128 126 136 134
rect 84 97 92 105
rect -3 89 5 97
rect 3 76 11 84
rect -17 68 -9 76
rect 128 84 136 92
rect 114 76 122 84
rect -17 38 -9 46
rect 3 26 11 34
rect 128 34 136 42
rect 114 26 122 34
<< metal1 >>
rect 15 151 53 159
rect 69 151 136 159
rect 6 146 128 147
rect 6 142 132 146
rect -7 134 11 142
rect 114 138 132 142
rect 15 130 110 138
rect 114 134 122 138
rect 128 130 136 134
rect -17 122 23 130
rect -7 117 1 118
rect -15 110 53 117
rect -15 95 -7 110
rect 15 109 53 110
rect 58 97 64 130
rect 106 126 136 130
rect 69 116 110 117
rect 69 109 139 116
rect 69 101 77 109
rect 84 97 92 105
rect 98 101 110 109
rect 123 108 139 109
rect -3 95 5 97
rect -15 84 -7 90
rect -3 89 23 95
rect 58 92 89 97
rect 128 92 136 103
rect 15 88 23 89
rect 106 88 136 92
rect -15 82 11 84
rect -14 80 11 82
rect 15 80 110 88
rect 128 84 136 88
rect 114 80 122 84
rect 3 76 11 80
rect 114 76 132 80
rect -17 68 -9 76
rect 6 72 132 76
rect 6 71 128 72
rect -17 46 -11 68
rect 69 59 136 67
rect 15 58 53 59
rect -7 51 53 58
rect 69 51 77 59
rect 98 51 110 59
rect -7 50 1 51
rect -17 38 23 46
rect 106 38 136 42
rect -7 26 11 34
rect 15 30 110 38
rect 128 34 136 38
rect 114 30 122 34
rect 114 26 132 30
rect 6 22 132 26
rect 6 21 128 22
rect 15 9 53 17
rect 69 9 136 17
<< labels >>
rlabel metal1 104 155 104 155 5 Vdd!
rlabel metal1 19 155 19 155 5 GND!
rlabel metal1 73 155 73 155 5 Vdd!
rlabel metal1 49 155 49 155 5 GND!
rlabel metal1 104 34 104 34 1 _ab
rlabel metal1 73 34 73 34 1 _ab
rlabel metal1 49 34 49 34 1 _ab
rlabel metal1 19 34 19 34 1 _ab
rlabel polysilicon 111 48 111 48 1 b
rlabel polysilicon 14 19 14 19 1 a
rlabel metal1 130 13 130 13 1 Vdd!
rlabel metal1 104 13 104 13 1 Vdd!
rlabel metal1 19 13 19 13 1 GND!
rlabel metal1 73 13 73 13 1 Vdd!
rlabel metal1 49 13 49 13 1 GND!
rlabel metal1 19 55 19 55 1 GND!
rlabel metal1 49 55 49 55 1 GND!
rlabel metal1 19 113 19 113 5 GND!
rlabel metal1 49 113 49 113 5 GND!
rlabel metal1 132 88 132 88 1 x
rlabel polysilicon 14 61 14 61 1 _SReset!
rlabel polysilicon 14 106 14 106 1 _SReset!
rlabel metal1 130 63 130 63 1 Vdd!
rlabel metal1 104 63 104 63 1 Vdd!
rlabel metal1 104 84 104 84 5 x
rlabel metal1 19 84 19 84 1 x
rlabel metal1 73 63 73 63 1 Vdd!
rlabel metal1 73 84 73 84 1 x
rlabel metal1 49 84 49 84 1 x
rlabel metal1 104 113 104 113 5 Vdd!
rlabel metal1 73 113 73 113 5 Vdd!
rlabel polysilicon 14 149 14 149 5 c
rlabel polysilicon 111 120 111 120 5 d
rlabel metal1 49 134 49 134 5 _cd
rlabel metal1 19 134 19 134 5 _cd
rlabel metal1 73 134 73 134 5 _cd
rlabel metal1 104 134 104 134 5 _cd
rlabel metal1 130 155 130 155 1 Vdd!
rlabel metal1 128 113 128 113 1 Vdd!
rlabel metal1 88 101 88 101 1 _cd
rlabel metal1 1 93 1 93 5 x
rlabel ndcontact -3 114 -3 114 5 GND!
rlabel metal1 -11 99 -11 99 1 GND!
rlabel metal1 -13 72 -13 72 1 _ab
rlabel metal1 -3 54 -3 54 1 GND!
rlabel polysilicon 140 105 140 105 7 _PReset!
rlabel space -20 8 46 160 7 ^n
rlabel space 76 8 144 160 3 ^p
rlabel space 32 16 45 52 3 ^nab
rlabel space 77 16 90 52 7 ^pab
rlabel space 32 58 45 110 3 ^nx
rlabel space 77 66 93 106 7 ^px
rlabel space 32 116 45 152 3 ^ncd
rlabel space 77 116 90 152 7 ^pcd
<< end >>

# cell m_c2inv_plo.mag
magic
tech scmos
<< ndiffusion >>
rect 54 24 62 25
rect 54 16 62 21
rect 84 16 92 17
rect 54 8 62 13
rect 84 8 92 13
rect 54 4 62 5
rect 54 -5 62 -4
rect 54 -13 62 -8
rect 84 4 92 5
rect 84 -5 92 -4
rect 175 0 183 1
rect 84 -13 92 -8
rect 175 -4 183 -3
rect 175 -13 183 -12
rect 54 -21 62 -16
rect 84 -17 92 -16
rect 54 -25 62 -24
rect 175 -17 183 -16
<< pdiffusion >>
rect 131 30 141 35
rect 131 29 149 30
rect 131 25 149 26
rect 131 20 137 25
rect 108 16 116 17
rect 137 16 149 17
rect 108 8 116 13
rect 108 4 116 5
rect 108 -5 116 -4
rect 137 8 149 13
rect 137 4 149 5
rect 137 -5 149 -4
rect 199 0 207 1
rect 108 -13 116 -8
rect 137 -13 149 -8
rect 199 -4 207 -3
rect 199 -13 207 -12
rect 108 -17 116 -16
rect 137 -17 149 -16
rect 199 -17 207 -16
<< ntransistor >>
rect 54 21 62 24
rect 54 13 62 16
rect 84 13 92 16
rect 54 5 62 8
rect 84 5 92 8
rect 54 -8 62 -5
rect 84 -8 92 -5
rect 175 -3 183 0
rect 54 -16 62 -13
rect 84 -16 92 -13
rect 175 -16 183 -13
rect 54 -24 62 -21
<< ptransistor >>
rect 131 26 149 29
rect 108 13 116 16
rect 137 13 149 16
rect 108 5 116 8
rect 137 5 149 8
rect 108 -8 116 -5
rect 137 -8 149 -5
rect 199 -3 207 0
rect 108 -16 116 -13
rect 137 -16 149 -13
rect 199 -16 207 -13
<< polysilicon >>
rect 127 26 131 29
rect 149 26 153 29
rect 50 21 54 24
rect 62 21 67 24
rect 50 13 54 16
rect 62 13 84 16
rect 92 13 108 16
rect 116 13 137 16
rect 149 13 153 16
rect 49 5 54 8
rect 62 5 67 8
rect 72 5 84 8
rect 92 5 108 8
rect 116 5 120 8
rect 49 0 52 5
rect 50 -5 52 0
rect 50 -8 54 -5
rect 62 -8 67 -5
rect 72 -13 75 5
rect 125 -5 128 13
rect 133 5 137 8
rect 149 5 154 8
rect 151 0 154 5
rect 151 -5 153 0
rect 80 -8 84 -5
rect 92 -8 108 -5
rect 116 -8 128 -5
rect 133 -8 137 -5
rect 149 -8 153 -5
rect 170 -3 175 0
rect 183 -3 199 0
rect 207 -3 212 0
rect 170 -13 173 -3
rect 209 -13 212 -3
rect 50 -16 54 -13
rect 62 -16 84 -13
rect 92 -16 108 -13
rect 116 -16 137 -13
rect 149 -16 153 -13
rect 170 -16 175 -13
rect 183 -16 199 -13
rect 207 -16 212 -13
rect 50 -24 54 -21
rect 62 -24 66 -21
<< ndcontact >>
rect 54 25 62 33
rect 84 17 92 25
rect 54 -4 62 4
rect 84 -4 92 4
rect 175 1 183 9
rect 175 -12 183 -4
rect 84 -25 92 -17
rect 175 -25 183 -17
rect 54 -33 62 -25
<< pdcontact >>
rect 141 30 149 38
rect 108 17 116 25
rect 137 17 149 25
rect 108 -4 116 4
rect 137 -4 149 4
rect 199 1 207 9
rect 199 -12 207 -4
rect 108 -25 116 -17
rect 137 -25 149 -17
rect 199 -25 207 -17
<< polycontact >>
rect 42 -8 50 0
rect 153 -8 161 0
<< metal1 >>
rect 141 34 149 38
rect 54 25 62 33
rect 141 30 157 34
rect 54 17 92 25
rect 108 17 149 25
rect 153 8 157 30
rect 145 4 157 8
rect 42 -8 50 0
rect 54 -4 149 4
rect 175 1 183 9
rect 199 1 207 9
rect 153 -8 161 0
rect 45 -13 158 -8
rect 175 -12 207 -4
rect 54 -25 92 -17
rect 108 -25 149 -17
rect 175 -25 183 -17
rect 199 -25 207 -17
rect 54 -33 62 -25
<< labels >>
rlabel metal1 112 21 112 21 5 Vdd!
rlabel metal1 112 -21 112 -21 1 Vdd!
rlabel polysilicon 53 14 53 14 3 b
rlabel polysilicon 53 -15 53 -15 3 a
rlabel polysilicon 150 -14 150 -14 7 a
rlabel polysilicon 150 15 150 15 7 b
rlabel metal1 143 21 143 21 5 Vdd!
rlabel metal1 143 -21 143 -21 1 Vdd!
rlabel polysilicon 53 22 53 22 1 _SReset!
rlabel metal1 58 -29 58 -29 1 GND!
rlabel polysilicon 53 -23 53 -23 1 _SReset!
rlabel metal1 157 -4 157 -4 1 x
rlabel metal1 46 -4 46 -4 1 x
rlabel metal1 58 0 58 0 1 _x
rlabel metal1 88 0 88 0 1 _x
rlabel metal1 112 0 112 0 1 _x
rlabel metal1 143 0 143 0 1 _x
rlabel metal1 88 -21 88 -21 1 GND!
rlabel metal1 88 21 88 21 5 GND!
rlabel metal1 58 29 58 29 5 GND!
rlabel ndcontact 179 -8 179 -8 1 x
rlabel pdcontact 203 -8 203 -8 1 x
rlabel pdcontact 203 -21 203 -21 1 Vdd!
rlabel pdcontact 203 5 203 5 5 Vdd!
rlabel ndcontact 179 5 179 5 5 GND!
rlabel polysilicon 174 -2 174 -2 1 _x
rlabel polysilicon 174 -15 174 -15 1 _x
rlabel polysilicon 208 -2 208 -2 1 _x
rlabel polysilicon 208 -15 208 -15 1 _x
rlabel space 169 -26 176 10 7 ^n2
rlabel space 206 -26 213 10 3 ^p2
rlabel ndcontact 179 -21 179 -21 1 GND!
rlabel polysilicon 150 28 150 28 7 _PReset!
rlabel metal1 145 34 145 34 5 _x
rlabel space 41 -34 85 34 7 ^n1
rlabel space 115 -26 162 40 3 ^p1
<< end >>

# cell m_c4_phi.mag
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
